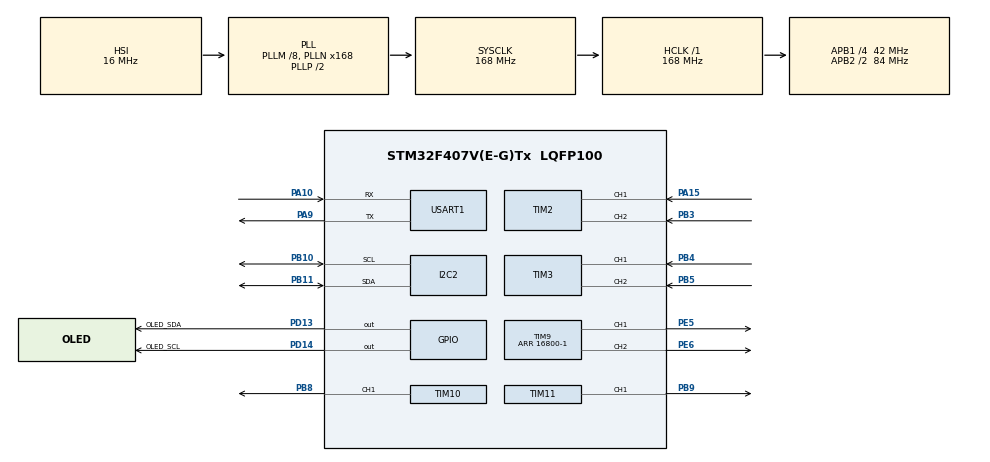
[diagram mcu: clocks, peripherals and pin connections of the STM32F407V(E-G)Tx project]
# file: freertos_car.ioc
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Dma.Request0=USART1_RX
Dma.Request1=USART1_TX
Dma.USART1_RX.0.Direction=DMA_PERIPH_TO_MEMORY
Dma.USART1_RX.0.FIFOMode=DMA_FIFOMODE_DISABLE
Dma.USART1_RX.0.Instance=DMA2_Stream2
Dma.USART1_RX.0.MemDataAlignment=DMA_MDATAALIGN_BYTE
Dma.USART1_RX.0.MemInc=DMA_MINC_ENABLE
Dma.USART1_RX.0.Mode=DMA_CIRCULAR
Dma.USART1_RX.0.PeriphDataAlignment=DMA_PDATAALIGN_BYTE
Dma.USART1_RX.0.PeriphInc=DMA_PINC_DISABLE
Dma.USART1_RX.0.Priority=DMA_PRIORITY_LOW
Dma.USART1_TX.1.Direction=DMA_MEMORY_TO_PERIPH
Dma.USART1_TX.1.FIFOMode=DMA_FIFOMODE_DISABLE
Dma.USART1_TX.1.Instance=DMA2_Stream7
Dma.USART1_TX.1.MemDataAlignment=DMA_MDATAALIGN_BYTE
Dma.USART1_TX.1.MemInc=DMA_MINC_ENABLE
Dma.USART1_TX.1.Mode=DMA_NORMAL
Dma.USART1_TX.1.PeriphDataAlignment=DMA_PDATAALIGN_BYTE
Dma.USART1_TX.1.PeriphInc=DMA_PINC_DISABLE
Dma.USART1_TX.1.Priority=DMA_PRIORITY_LOW
FREERTOS.Tasks01=defaultTask,0,128,StartDefaultTask,Default,NULL,Dynamic,NULL,NULL;OLED,-1,128,OLED_Control,Default,NULL,Dynamic,NULL,NULL;Move,0,512,Move_Control,Default,NULL,Dynamic,NULL,NULL;mpu6050,-1,256,mpu6050_Control,Default,NULL,Dynamic,NULL,NULL;Serial,0,512,Serial_Control,Default,NULL,Dynamic,NULL,NULL
Mcu.Family=STM32F4
Mcu.Name=STM32F407V(E-G)Tx
Mcu.Package=LQFP100
NVIC.DMA2_Stream2_IRQn=true\:5\:0\:false\:false\:true\:true\:false\:true\:true
NVIC.DMA2_Stream7_IRQn=true\:5\:0\:false\:false\:true\:true\:false\:true\:true
NVIC.PriorityGroup=NVIC_PRIORITYGROUP_4
NVIC.TIM8_BRK_TIM12_IRQn=true\:5\:0\:false\:false\:true\:true\:true\:true\:true
NVIC.TIM8_TRG_COM_TIM14_IRQn=true\:15\:0\:false\:false\:true\:false\:false\:true\:true
NVIC.TimeBase=TIM8_TRG_COM_TIM14_IRQn
NVIC.TimeBaseIP=TIM14
NVIC.USART1_IRQn=true\:5\:0\:false\:false\:true\:true\:true\:true\:true
PA10.Mode=Asynchronous
PA10.Signal=USART1_RX
PA13.Mode=Serial_Wire
PA13.Signal=SYS_JTMS-SWDIO
PA14.Mode=Serial_Wire
PA14.Signal=SYS_JTCK-SWCLK
PA15.Signal=S_TIM2_CH1_ETR
PA9.Mode=Asynchronous
PA9.Signal=USART1_TX
PB10.Mode=I2C
PB10.Signal=I2C2_SCL
PB11.Mode=I2C
PB11.Signal=I2C2_SDA
PB3.Signal=S_TIM2_CH2
PB4.Signal=S_TIM3_CH1
PB5.Signal=S_TIM3_CH2
PB8.Signal=S_TIM10_CH1
PB9.Signal=S_TIM11_CH1
PD13.GPIO_Label=OLED_SDA
PD13.Signal=GPIO_Output
PD14.GPIO_Label=OLED_SCL
PD14.Signal=GPIO_Output
PE5.Signal=S_TIM9_CH1
PE6.Signal=S_TIM9_CH2
PH0-OSC_IN.Mode=HSE-External-Oscillator
PH0-OSC_IN.Signal=RCC_OSC_IN
PH1-OSC_OUT.Mode=HSE-External-Oscillator
PH1-OSC_OUT.Signal=RCC_OSC_OUT
ProjectManager.HeapSize=0x200
ProjectManager.StackSize=0x400
ProjectManager.TargetToolchain=MDK-ARM V5.32
RCC.48MHZClocksFreq_Value=84000000
RCC.AHBFreq_Value=168000000
RCC.APB1CLKDivider=RCC_HCLK_DIV4
RCC.APB1Freq_Value=42000000
RCC.APB1TimFreq_Value=84000000
RCC.APB2CLKDivider=RCC_HCLK_DIV2
RCC.APB2Freq_Value=84000000
RCC.APB2TimFreq_Value=168000000
RCC.CortexFreq_Value=168000000
RCC.HCLKFreq_Value=168000000
RCC.HSE_VALUE=25000000
RCC.HSI_VALUE=16000000
RCC.LSE_VALUE=32768
RCC.PLLM=8
RCC.PLLN=168
RCC.SYSCLKFreq_VALUE=168000000
RCC.SYSCLKSource=RCC_SYSCLKSOURCE_PLLCLK
RCC.VCOOutputFreq_Value=336000000
SH.S_TIM10_CH1.0=TIM10_CH1,PWM Generation1 CH1
SH.S_TIM11_CH1.0=TIM11_CH1,PWM Generation1 CH1
SH.S_TIM2_CH1_ETR.0=TIM2_CH1,Encoder_Interface
SH.S_TIM2_CH2.0=TIM2_CH2,Encoder_Interface
SH.S_TIM3_CH1.0=TIM3_CH1,Encoder_Interface
SH.S_TIM3_CH2.0=TIM3_CH2,Encoder_Interface
SH.S_TIM9_CH1.0=TIM9_CH1,PWM Generation1 CH1
SH.S_TIM9_CH2.0=TIM9_CH2,PWM Generation2 CH2
TIM10.Channel=TIM_CHANNEL_1
TIM10.Period=16800-1
TIM11.Channel=TIM_CHANNEL_1
TIM11.Period=16800-1
TIM12.Period=50-1
TIM12.Prescaler=16800-1
TIM13.Prescaler=168-1
TIM2.EncoderMode=TIM_ENCODERMODE_TI12
TIM3.EncoderMode=TIM_ENCODERMODE_TI12
TIM9.Channel-PWM\ Generation1\ CH1=TIM_CHANNEL_1
TIM9.Channel-PWM\ Generation2\ CH2=TIM_CHANNEL_2
TIM9.Period=16800-1
USART1.VirtualMode=VM_ASYNC
VP_FREERTOS_VS_CMSIS_V1.Mode=CMSIS_V1
VP_SYS_VS_tim14.Mode=TIM14
VP_TIM10_VS_ClockSourceINT.Mode=Enable_Timer
VP_TIM11_VS_ClockSourceINT.Mode=Enable_Timer
VP_TIM12_VS_ClockSourceINT.Mode=Internal
VP_TIM13_VS_ClockSourceINT.Mode=Enable_Timer
VP_TIM9_VS_ClockSourceINT.Mode=Internal
board=custom

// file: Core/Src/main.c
/* USER CODE BEGIN Header */
/**
  ******************************************************************************
  * @file           : main.c
  * @brief          : Main program body
  ******************************************************************************
  * @attention
  *
  * Copyright (c) 2025 STMicroelectronics.
  * All rights reserved.
  *
  * This software is licensed under terms that can be found in the LICENSE file
  * in the root directory of this software component.
  * If no LICENSE file comes with this software, it is provided AS-IS.
  *
  ******************************************************************************
  */
/* USER CODE END Header */
#include "main.h"
#include "cmsis_os.h"
#include "dma.h"
#include "i2c.h"
#include "tim.h"
#include "usart.h"
#include "gpio.h"

/* USER CODE BEGIN Includes */
#include "encoder.h"
#include "OLED.h"
#include "MPU6050.h"
#include "stdio.h"
#include "serial.h"
#include "pid.h"
#include "Motor.h"
/* USER CODE END Includes */

/* USER CODE BEGIN PV */
int16_t Speed_L;
int16_t Speed_R;
int ret=0;
extern unsigned char JudgeReceiveBuffer[reBiggestSize*2];
extern Ctrl_information chassis_ctrl;
PID_SpdTypeDef left_speed_PID = {1000,10,5,0.0,0.0,0.0};
PID_SpdTypeDef right_speed_PID = {1000,10,5,0.0,0.0,0.0};
/* USER CODE END PV */

void SystemClock_Config(void);
void MX_FREERTOS_Init(void);

int main(void)
{

  /* MCU Configuration--------------------------------------------------------*/

  /* Reset of all peripherals, Initializes the Flash interface and the Systick. */
  HAL_Init();

  /* Configure the system clock */
  SystemClock_Config();

  /* Initialize all configured peripherals */
  MX_GPIO_Init();
  MX_DMA_Init();
  MX_TIM11_Init();
  MX_TIM13_Init();
  MX_TIM10_Init();
  MX_TIM2_Init();
  MX_TIM12_Init();
  MX_I2C2_Init();
  MX_TIM3_Init();
  MX_TIM9_Init();
  MX_USART1_UART_Init();
  /* USER CODE BEGIN 2 */
	HAL_TIM_Encoder_Start(&htim2, TIM_CHANNEL_ALL);
	HAL_TIM_Encoder_Start(&htim3, TIM_CHANNEL_ALL);
	HAL_TIM_Base_Start_IT(&htim12);
	// ���� DMA + �����ж�
	HAL_UART_Receive_DMA(&huart1, JudgeReceiveBuffer, reBiggestSize*2);
	__HAL_UART_ENABLE_IT(&huart1, UART_IT_IDLE);  // ʹ�ܿ����ж�
	OLED_Init();
	do{
		ret=MPU6050_DMP_init();
	}while(ret);
	MotorL_Back();
	MotorR_Back();
  /* USER CODE END 2 */

  /* Call init function for freertos objects (in freertos.c) */
  MX_FREERTOS_Init();

  /* Start scheduler */
  osKernelStart();
  /* We should never get here as control is now taken by the scheduler */
  /* Infinite loop */
  while (1)
  {

  }
}

void SystemClock_Config(void)
{
  RCC_OscInitTypeDef RCC_OscInitStruct = {0};
  RCC_ClkInitTypeDef RCC_ClkInitStruct = {0};

  /** Configure the main internal regulator output voltage
  */
  __HAL_RCC_PWR_CLK_ENABLE();
  __HAL_PWR_VOLTAGESCALING_CONFIG(PWR_REGULATOR_VOLTAGE_SCALE1);

  /** Initializes the RCC Oscillators according to the specified parameters
  * in the RCC_OscInitTypeDef structure.
  */
  RCC_OscInitStruct.OscillatorType = RCC_OSCILLATORTYPE_HSI;
  RCC_OscInitStruct.HSIState = RCC_HSI_ON;
  RCC_OscInitStruct.HSICalibrationValue = RCC_HSICALIBRATION_DEFAULT;
  RCC_OscInitStruct.PLL.PLLState = RCC_PLL_ON;
  RCC_OscInitStruct.PLL.PLLSource = RCC_PLLSOURCE_HSI;
  RCC_OscInitStruct.PLL.PLLM = 8;
  RCC_OscInitStruct.PLL.PLLN = 168;
  RCC_OscInitStruct.PLL.PLLP = RCC_PLLP_DIV2;
  RCC_OscInitStruct.PLL.PLLQ = 4;
  if (HAL_RCC_OscConfig(&RCC_OscInitStruct) != HAL_OK)
  {
    Error_Handler();
  }

  /** Initializes the CPU, AHB and APB buses clocks
  */
  RCC_ClkInitStruct.ClockType = RCC_CLOCKTYPE_HCLK|RCC_CLOCKTYPE_SYSCLK
                              |RCC_CLOCKTYPE_PCLK1|RCC_CLOCKTYPE_PCLK2;
  RCC_ClkInitStruct.SYSCLKSource = RCC_SYSCLKSOURCE_PLLCLK;
  RCC_ClkInitStruct.AHBCLKDivider = RCC_SYSCLK_DIV1;
  RCC_ClkInitStruct.APB1CLKDivider = RCC_HCLK_DIV4;
  RCC_ClkInitStruct.APB2CLKDivider = RCC_HCLK_DIV2;

  if (HAL_RCC_ClockConfig(&RCC_ClkInitStruct, FLASH_LATENCY_5) != HAL_OK)
  {
    Error_Handler();
  }
}

void HAL_TIM_PeriodElapsedCallback(TIM_HandleTypeDef *htim)
{
  /* USER CODE BEGIN Callback 0 */
	if (htim->Instance == TIM12) {
    Speed_L = Get_Left_Motor_Speed();
		Speed_R = Get_Right_Motor_Speed();
		if(chassis_ctrl.leftSpeedSet<0)
		{
			MotorL_Back();
			int pwm_output = PID_Spd(chassis_ctrl.leftSpeedSet, Speed_L, &left_speed_PID);
			__HAL_TIM_SET_COMPARE(&htim9, TIM_CHANNEL_2,(pwm_output > 0) ? pwm_output : -pwm_output);
		}
		else if(chassis_ctrl.leftSpeedSet==0)
		{
			MotorL_Stop();
		}
		else
		{
			MotorL_Move();
			int pwm_output = PID_Spd(chassis_ctrl.leftSpeedSet, Speed_L, &left_speed_PID);
			__HAL_TIM_SET_COMPARE(&htim9, TIM_CHANNEL_1,(pwm_output > 0) ? pwm_output : -pwm_output);
		}

		if(chassis_ctrl.rightSpeedSet<0)
		{
			MotorR_Back();
			int pwm_output = PID_Spd(chassis_ctrl.rightSpeedSet, -Speed_R, &right_speed_PID);
			__HAL_TIM_SET_COMPARE(&htim11, TIM_CHANNEL_1,(pwm_output > 0) ? pwm_output : -pwm_output);
		}
		else if(chassis_ctrl.rightSpeedSet==0)
		{
			MotorR_Stop();
		}
		else
		{
			MotorR_Move();
			int pwm_output = PID_Spd(chassis_ctrl.rightSpeedSet, -Speed_R, &right_speed_PID);
			__HAL_TIM_SET_COMPARE(&htim10, TIM_CHANNEL_1,(pwm_output > 0) ? pwm_output : -pwm_output);
		}
		//__HAL_TIM_SET_COMPARE(&htim9, TIM_CHANNEL_2,-PID_Spd(-30,Speed_L,&left_speed_PID));
		//__HAL_TIM_SET_COMPARE(&htim11, TIM_CHANNEL_1,-PID_Spd(-30,-Speed_R,&right_speed_PID));

//		__HAL_TIM_SET_COMPARE(&htim10, TIM_CHANNEL_1,10000);
//		__HAL_TIM_SET_COMPARE(&htim9, TIM_CHANNEL_1,10000);
  }
  /* USER CODE END Callback 0 */
  if (htim->Instance == TIM14) {
    HAL_IncTick();
  }
}

void Error_Handler(void)
{
  __disable_irq();
  while (1)
  {
  }
}

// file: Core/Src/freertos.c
/* USER CODE BEGIN Header */
/**
  ******************************************************************************
  * File Name          : freertos.c
  * Description        : Code for freertos applications
  ******************************************************************************
  * @attention
  *
  * Copyright (c) 2025 STMicroelectronics.
  * All rights reserved.
  *
  * This software is licensed under terms that can be found in the LICENSE file
  * in the root directory of this software component.
  * If no LICENSE file comes with this software, it is provided AS-IS.
  *
  ******************************************************************************
  */
/* USER CODE END Header */

#include "FreeRTOS.h"
#include "task.h"
#include "main.h"
#include "cmsis_os.h"

/* USER CODE BEGIN Includes */
#include "Motor.h"
#include "OLED.h"
#include "tim.h"
#include "MPU6050.h"
#include "stdio.h"
#include "serial.h"
/* USER CODE END Includes */

/* USER CODE BEGIN Variables */
extern int16_t Speed_L, Speed_R;
extern int ret;
float Yaw;
extern uint8_t num_buff[3];
extern Ctrl_information chassis_ctrl;

/* USER CODE END Variables */
osThreadId defaultTaskHandle;
osThreadId OLEDHandle;
osThreadId MoveHandle;
osThreadId mpu6050Handle;
osThreadId SerialHandle;

void StartDefaultTask(void const * argument);
void OLED_Control(void const * argument);
void Move_Control(void const * argument);
void mpu6050_Control(void const * argument);
void Serial_Control(void const * argument);

void MX_FREERTOS_Init(void); /* (MISRA C 2004 rule 8.1) */

/* GetIdleTaskMemory prototype (linked to static allocation support) */
void vApplicationGetIdleTaskMemory( StaticTask_t **ppxIdleTaskTCBBuffer, StackType_t **ppxIdleTaskStackBuffer, uint32_t *pulIdleTaskStackSize );

/* USER CODE BEGIN GET_IDLE_TASK_MEMORY */
static StaticTask_t xIdleTaskTCBBuffer;
static StackType_t xIdleStack[configMINIMAL_STACK_SIZE];

void vApplicationGetIdleTaskMemory( StaticTask_t **ppxIdleTaskTCBBuffer, StackType_t **ppxIdleTaskStackBuffer, uint32_t *pulIdleTaskStackSize )
{
  *ppxIdleTaskTCBBuffer = &xIdleTaskTCBBuffer;
  *ppxIdleTaskStackBuffer = &xIdleStack[0];
  *pulIdleTaskStackSize = configMINIMAL_STACK_SIZE;
  /* place for user code */
}
/* USER CODE END GET_IDLE_TASK_MEMORY */

void MX_FREERTOS_Init(void) {

  /* Create the thread(s) */
  /* definition and creation of defaultTask */
  osThreadDef(defaultTask, StartDefaultTask, osPriorityNormal, 0, 128);
  defaultTaskHandle = osThreadCreate(osThread(defaultTask), NULL);

  /* definition and creation of OLED */
  osThreadDef(OLED, OLED_Control, osPriorityBelowNormal, 0, 128);
  OLEDHandle = osThreadCreate(osThread(OLED), NULL);

  /* definition and creation of Move */
  osThreadDef(Move, Move_Control, osPriorityNormal, 0, 512);
  MoveHandle = osThreadCreate(osThread(Move), NULL);

  /* definition and creation of mpu6050 */
  osThreadDef(mpu6050, mpu6050_Control, osPriorityBelowNormal, 0, 256);
  mpu6050Handle = osThreadCreate(osThread(mpu6050), NULL);

  /* definition and creation of Serial */
  osThreadDef(Serial, Serial_Control, osPriorityNormal, 0, 512);
  SerialHandle = osThreadCreate(osThread(Serial), NULL);

}

void StartDefaultTask(void const * argument)
{
  for(;;)
  {
    osDelay(1);
  }
}

void OLED_Control(void const * argument)
{
  /* USER CODE BEGIN OLED_Control */
	OLED_ShowString(0,0,"left:",OLED_8X16);
	OLED_ShowString(0,17,"right:",OLED_8X16);
	OLED_ShowString(73,0,"cm/s",OLED_8X16);
	OLED_ShowString(82,17,"cm/s",OLED_8X16);
	OLED_ShowString(0,33,"yaw=",OLED_8X16);

	OLED_ShowString(0,54,"s_L",OLED_6X8);
	OLED_ShowString(37,54,"s_R",OLED_6X8);
  /* Infinite loop */
  for(;;)
  {
    OLED_ShowSignedNum(41,0,Speed_L,3,OLED_8X16);
		OLED_ShowSignedNum(49,17,-Speed_R,3,OLED_8X16);

		OLED_ShowFloatNum(33,33,Yaw,3,2,OLED_8X16);

		OLED_ShowFloatNum(19,54,chassis_ctrl.leftSpeedSet,3,0,OLED_6X8);
		OLED_ShowFloatNum(55,54,chassis_ctrl.leftSpeedSet,3,0,OLED_6X8);
		OLED_Update();

  }
  /* USER CODE END OLED_Control */
}

void Move_Control(void const * argument)
{
  /* USER CODE BEGIN Move_Control */
	//HAL_TIM_PWM_Start(&htim1, TIM_CHANNEL_1);
	//MotorL_Move();
	//MotorR_Move();
	//__HAL_TIM_SET_COMPARE(&htim11, TIM_CHANNEL_1,1680 * 5.7);
	//__HAL_TIM_SET_COMPARE(&htim9, TIM_CHANNEL_2,1680 * 5.7);
  /* Infinite loop */
  for(;;)
  {
		osDelay(20);
  }
  /* USER CODE END Move_Control */
}

void mpu6050_Control(void const * argument)
{
  /* USER CODE BEGIN mpu6050_Control */

  /* Infinite loop */
  for(;;)
  {
	  MPU6050_DMP_Get_Date(&Yaw);
		Yaw=(Yaw*100+0.5)/100;
  }
  /* USER CODE END mpu6050_Control */
}

void Serial_Control(void const * argument)
{
  /* USER CODE BEGIN Serial_Control */
  /* Infinite loop */
  for(;;)
  {
    usartSendData(Speed_L, -Speed_R, Yaw, num_buff[1]);
		osDelay(20);
  }
  /* USER CODE END Serial_Control */
}
